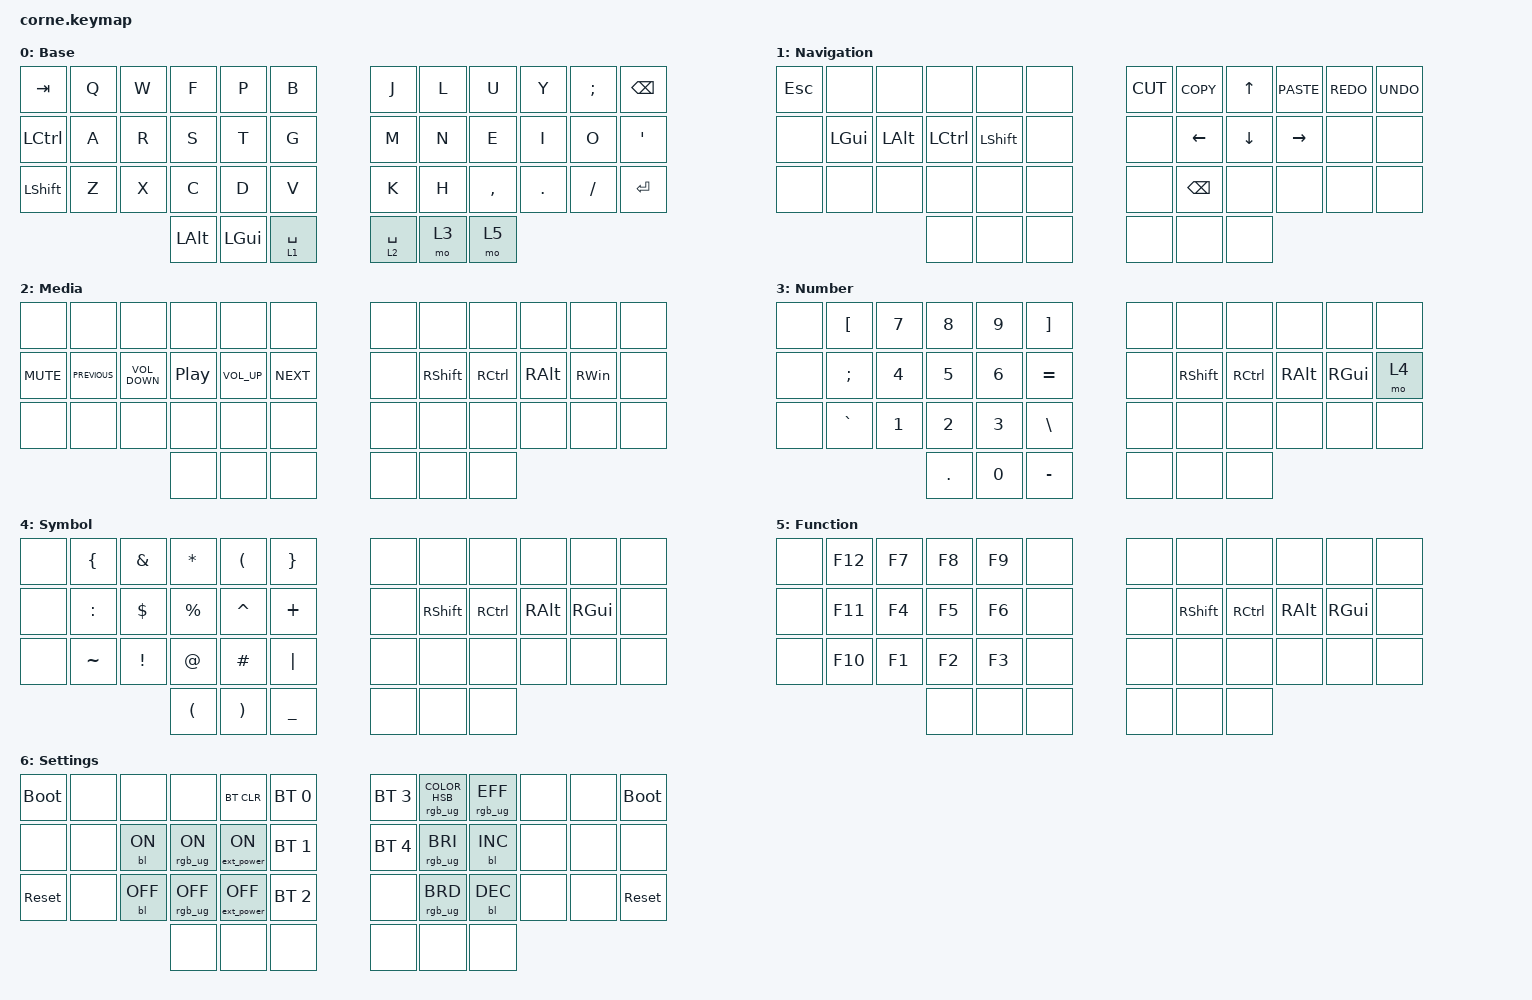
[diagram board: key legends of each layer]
/*
 * Copyright (c) 2020 The ZMK Contributors
 *
 * SPDX-License-Identifier: MIT
 */

#include <behaviors.dtsi>
#include <dt-bindings/zmk/backlight.h>
#include <dt-bindings/zmk/bt.h>
#include <dt-bindings/zmk/ext_power.h>
#include <dt-bindings/zmk/keys.h>
#include <dt-bindings/zmk/rgb.h>

/ {
    combos {
        compatible = "zmk,combos";

        Settings {
            bindings = <&mo 6>;
            key-positions = <38 39>;
            timeout-ms = <100>;
        };

        Symbols {
            bindings = <&mo 4>;
            key-positions = <40 23>;
            timeout-ms = <100>;
        };
    };

    keymap {
        compatible = "zmk,keymap";

        Base {
            bindings = <
&kp TAB    &kp Q  &kp W  &kp F     &kp P     &kp B          &kp J        &kp L  &kp U      &kp Y    &kp SEMI  &kp BSPC
&kp LCTRL  &kp A  &kp R  &kp S     &kp T     &kp G          &kp M        &kp N  &kp E      &kp I    &kp O     &kp SQT
&kp LSHFT  &kp Z  &kp X  &kp C     &kp D     &kp V          &kp K        &kp H  &kp COMMA  &kp DOT  &kp FSLH  &kp RET
                         &kp LALT  &kp LGUI  &lt 1 SPACE    &lt 2 SPACE  &mo 3  &mo 5
            >;
        };

        Navigation {
            bindings = <
&kp ESC  &none     &none     &none      &none       &none    &kp K_CUT  &kp K_COPY     &kp UP    &kp K_PASTE  &kp K_REDO  &kp K_UNDO
&none    &kp LGUI  &kp LALT  &kp LCTRL  &kp LSHIFT  &none    &none      &kp LEFT       &kp DOWN  &kp RIGHT    &none       &none
&none    &none     &none     &none      &none       &none    &none      &kp BACKSPACE  &none     &none        &none       &none
                             &none      &none       &none    &none      &none          &none
            >;
        };

        Media {
            bindings = <
&none       &none           &none              &none     &none            &none         &none  &none            &none              &none          &none          &none
&kp K_MUTE  &kp C_PREVIOUS  &kp K_VOLUME_DOWN  &kp C_PP  &kp K_VOLUME_UP  &kp C_NEXT    &none  &kp RIGHT_SHIFT  &kp RIGHT_CONTROL  &kp RIGHT_ALT  &kp RIGHT_WIN  &none
&none       &none           &none              &none     &none            &none         &none  &none            &none              &none          &none          &none
                                               &none     &none            &none         &none  &none            &none
            >;
        };

        Number {
            bindings = <
&none  &kp LBKT   &kp N7  &kp N8   &kp N9  &kp RBKT         &none  &none       &none      &none     &none     &none
&none  &kp SEMI   &kp N4  &kp N5   &kp N6  &kp EQUAL        &none  &kp RSHIFT  &kp RCTRL  &kp RALT  &kp RGUI  &mo 4
&none  &kp GRAVE  &kp N1  &kp N2   &kp N3  &kp BACKSLASH    &none  &none       &none      &none     &none     &none
                          &kp DOT  &kp N0  &kp MINUS        &none  &none       &none
            >;
        };

        Symbol {
            bindings = <
&none  &kp LEFT_BRACE  &kp AMPS         &kp ASTRK             &kp LEFT_PARENTHESIS   &kp RIGHT_BRACE    &none  &none            &none      &none     &none     &none
&none  &kp COLON       &kp DOLLAR       &kp PERCENT           &kp CARET              &kp PLUS           &none  &kp RIGHT_SHIFT  &kp RCTRL  &kp RALT  &kp RGUI  &none
&none  &kp TILDE       &kp EXCLAMATION  &kp AT_SIGN           &kp HASH               &kp PIPE           &none  &none            &none      &none     &none     &none
                                        &kp LEFT_PARENTHESIS  &kp RIGHT_PARENTHESIS  &kp UNDERSCORE     &none  &none            &none
            >;
        };

        Function {
            bindings = <
&none  &kp F12  &kp F7  &kp F8  &kp F9  &none    &none  &none       &none      &none     &none     &none
&none  &kp F11  &kp F4  &kp F5  &kp F6  &none    &none  &kp RSHIFT  &kp RCTRL  &kp RALT  &kp RGUI  &none
&none  &kp F10  &kp F1  &kp F2  &kp F3  &none    &none  &none       &none      &none     &none     &none
                        &none   &none   &none    &none  &none       &none
            >;
        };

        Settings {
            bindings = <
&bootloader  &none  &none       &none            &bt BT_CLR         &bt BT_SEL 0    &bt BT_SEL 3  &rgb_ug RGB_COLOR_HSB(0,0,100)  &rgb_ug RGB_EFF  &none  &none  &bootloader
&none        &none  &bl BL_ON   &rgb_ug RGB_ON   &ext_power EP_ON   &bt BT_SEL 1    &bt BT_SEL 4  &rgb_ug RGB_BRI                 &bl BL_INC       &none  &none  &none
&sys_reset   &none  &bl BL_OFF  &rgb_ug RGB_OFF  &ext_power EP_OFF  &bt BT_SEL 2    &none         &rgb_ug RGB_BRD                 &bl BL_DEC       &none  &none  &sys_reset
                                &none            &none              &none           &none         &none                           &none
            >;
        };
    };
};
